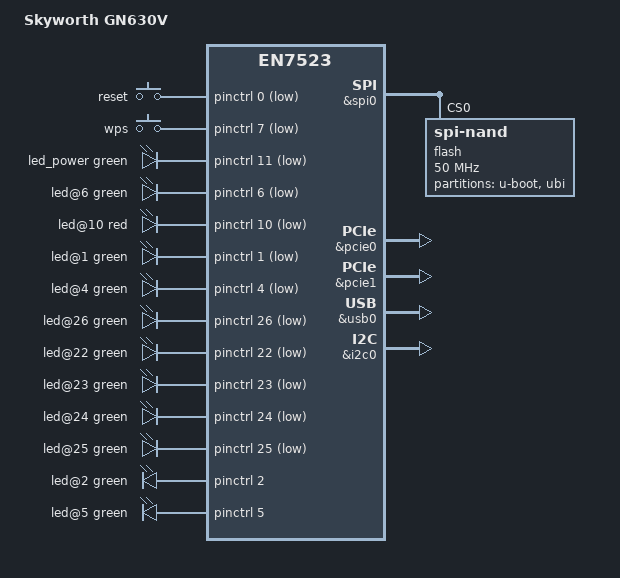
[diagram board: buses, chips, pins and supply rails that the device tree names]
/* SPDX-License-Identifier: GPL-2.0-or-later OR MIT */
/dts-v1/;

#include <dt-bindings/leds/common.h>
#include <dt-bindings/gpio/gpio.h>
#include <dt-bindings/input/input.h>
#include "en7523.dtsi"

/ {
	model = "Skyworth GN630V";
	compatible = "skyworth,gn630v", "airoha,en7523";

	chosen {
		rootdisk = <&firmware>;
		bootargs = "console=ttyS0,115200 earlycon ubi.block=0,fit root=/dev/fit0 rootwait";
		stdout-path = "serial0:115200n8";
    linux,usable-memory-range = <0x80200000 0x1fe00000>;
	};

	aliases {
		serial0 = &uart1;
		led-boot = &led_power;
		led-failsafe = &led_power;
		led-upgrade = &led_power;
		led-running = &led_power;
	};

	keys {
		compatible = "gpio-keys-polled";
		poll-interval = <100>;

		reset {
			label = "reset";
			linux,code = <KEY_RESTART>;
			gpios = <&pinctrl 0 GPIO_ACTIVE_LOW>;
			debounce-interval = <60>;
		};

		wps {
			label = "wps";
			linux,code = <KEY_WPS_BUTTON>;
			gpios = <&pinctrl 7 GPIO_ACTIVE_LOW>;
			debounce-interval = <60>;
		};
	};

	leds {
		compatible = "gpio-leds";

		/* Power - Green */
		led_power: led@11 {
			color = <LED_COLOR_ID_GREEN>;
			function = LED_FUNCTION_POWER;
			gpios = <&pinctrl 11 GPIO_ACTIVE_LOW>;
		};

		/* PON - Green */
		led@6 {
			color = <LED_COLOR_ID_GREEN>;
			function = LED_FUNCTION_STATUS;
			gpios = <&pinctrl 6 GPIO_ACTIVE_LOW>;	
		};

		/* LOS - Red */
		led@10 {
			color = <LED_COLOR_ID_RED>;
			function = LED_FUNCTION_WAN;
			gpios = <&pinctrl 10 GPIO_ACTIVE_LOW>;
		};

		/* Internet - Green */
		led@1 {
			color = <LED_COLOR_ID_GREEN>;
			function = LED_FUNCTION_INTERNET;
			gpios = <&pinctrl 1 GPIO_ACTIVE_LOW>;
		};

		/* WLAN 5G  */
		led@4 {
			color = <LED_COLOR_ID_GREEN>;
			function = LED_FUNCTION_WLAN_5GHZ;
			gpios = <&pinctrl 4 GPIO_ACTIVE_LOW>;
		};

		/* WPS  */
		led@26 {	
			color = <LED_COLOR_ID_GREEN>;
			function = LED_FUNCTION_WPS;
			gpios = <&pinctrl 26 GPIO_ACTIVE_LOW>;
		};			

		/* LAN 1  */
		led@22 {
			color = <LED_COLOR_ID_GREEN>;
			function = LED_FUNCTION_LAN;
			function-enumerator = <1>;
			gpios = <&pinctrl 22 GPIO_ACTIVE_LOW>;
		};

		/* LAN 2 */
		led@23 {
			color = <LED_COLOR_ID_GREEN>;
			function = LED_FUNCTION_LAN;
			function-enumerator = <2>;
			gpios = <&pinctrl 23 GPIO_ACTIVE_LOW>;
		};

	    /* LAN 3 */
		led@24 {
			color = <LED_COLOR_ID_GREEN>;
			function = LED_FUNCTION_LAN;
			function-enumerator = <3>;
			gpios = <&pinctrl 24 GPIO_ACTIVE_LOW>;
		};

		/* LAN 4 */
		led@25 {
			color = <LED_COLOR_ID_GREEN>;
			function = LED_FUNCTION_LAN;
			function-enumerator = <4>;
			gpios = <&pinctrl 25 GPIO_ACTIVE_LOW>;
		};

		/* USB  */
		led@2 {
			color = <LED_COLOR_ID_GREEN>;
			function = LED_FUNCTION_USB;
			gpios = <&pinctrl 2 GPIO_ACTIVE_HIGH>;
		};

		/* FXS */
		led@5 {
			color = <LED_COLOR_ID_GREEN>;
			function = LED_FUNCTION_VOIP;
			gpios = <&pinctrl 5 GPIO_ACTIVE_HIGH>;
		};
	};

/*
Old mapping NAND

	0x000000000000-0x000000080000 : "boot"
	0x000000080000-0x0000000c0000 : "romfile"
	0x0000000c0000-0x0000004c0000 : "misc" => 0x400000
	0x0000004c0000-0x000002cc0000 : "firmware"
	0x000002cc0000-0x0000054c0000 : "firmware_slave"
	0x000005940000-0x000005980000 : "reserve"
	0x000006000000-0x000012800000 : "container"

---------------------------------------------------------------------

New Maping:
	0x00000000-0x00100000 : BL1 + FIP (BL2 + BL31 + BL33)
	0x00100000-           : UBI (uboot env{1,2} + ART (misc part) + fit (firmware))
*/
&spi0 {
	flash@0 {
		reg = <0>;
		compatible = "spi-nand";
		spi-max-frequency = <50000000>;
		spi-tx-bus-width = <1>;
		spi-rx-bus-width = <2>;

		partitions {
			compatible = "fixed-partitions";
			#address-cells = <1>;
			#size-cells = <1>;

			partition@0 {
				label = "u-boot";
				reg = <0x00000000 0x00100000>;
				read-only;
			};

			partition@100000 {
				label = "ubi";
				compatible = "linux,ubi";
				reg = <0x00100000 0x0>;

				volumes {
					ubi-volume-ubootenv {
						volname = "ubootenv";
						nvmem-layout {
							compatible = "u-boot,env-redundant-bool";
						};
					};

					ubi-volume-ubootenv2 {
						volname = "ubootenv2";
						nvmem-layout {
							compatible = "u-boot,env-redundant-bool";
						};
					};

					ubi-volume-art {
						volname = "art";
						read-only;

						nvmem-layout {
							compatible = "fixed-layout";
							#address-cells = <1>;
							#size-cells = <1>;

							macaddr: macaddr@8f100 {
								#nvmem-cell-cells = <1>;
								compatible = "mac-base";
								reg = <0x8f100 0x6>;
							};

							eeprom0: eeprom@100000 {
								reg = <0x100000 0x1000>;
							};
						};
					};

					firmware: ubi-volume-firmware {
						volname = "fit";
						compatible = "denx,uimage";
					};
				};
			};
		};
	};
};

&pcie0 {
	status = "okay";
};

&pcie1 {
	status = "okay";

	pcie@1,0 {
		reg = <0x00000800 0 0 0 0>;
		#address-cells = <3>;
		#size-cells = <2>;

		mt7916@0,0 {
			reg = <0x0000 0 0 0 0>;
			#address-cells = <1>;
			#size-cells = <0>;
			nvmem-cells = <&eeprom0>;
			nvmem-cell-names = "eeprom";
			airoha,npu = <&npu>;
			airoha,eth = <&eth>;

			/* 2.4 GHz */
			band@0 {
				reg = <0>;
				nvmem-cells = <&macaddr 0>;
				nvmem-cell-names = "mac-address";
			};

			/* 5 GHz */
			band@1 {
				reg = <1>;
				nvmem-cells = <&macaddr 2>;
				nvmem-cell-names = "mac-address";
			};
		};
	};
};

&usb0 {
	status = "okay";
};

&i2c0 {
	status = "okay";
};

&eth {
	status = "okay";
};

&gdm1 {
	status = "okay";

	nvmem-cells = <&macaddr 0>;
	nvmem-cell-names = "mac-address";
};

&switch {
	status = "okay";
};

&gsw_port1 {
	label = "wan";
	status = "okay";
};

&gsw_port2 {
	label = "lan3";
	status = "okay";
};

&gsw_port3 {
	label = "lan2";
	status = "okay";
};

&gsw_port4 {
	label = "lan1";
	status = "okay";
};

&gsw_port6 {
	nvmem-cells = <&macaddr 0>;
	nvmem-cell-names = "mac-address";
};

&gsw_phy1 {
	status = "okay";
};

&gsw_phy2 {
	status = "okay";
};

&gsw_phy3 {
	status = "okay";
};

&gsw_phy4 {
	status = "okay";
};
